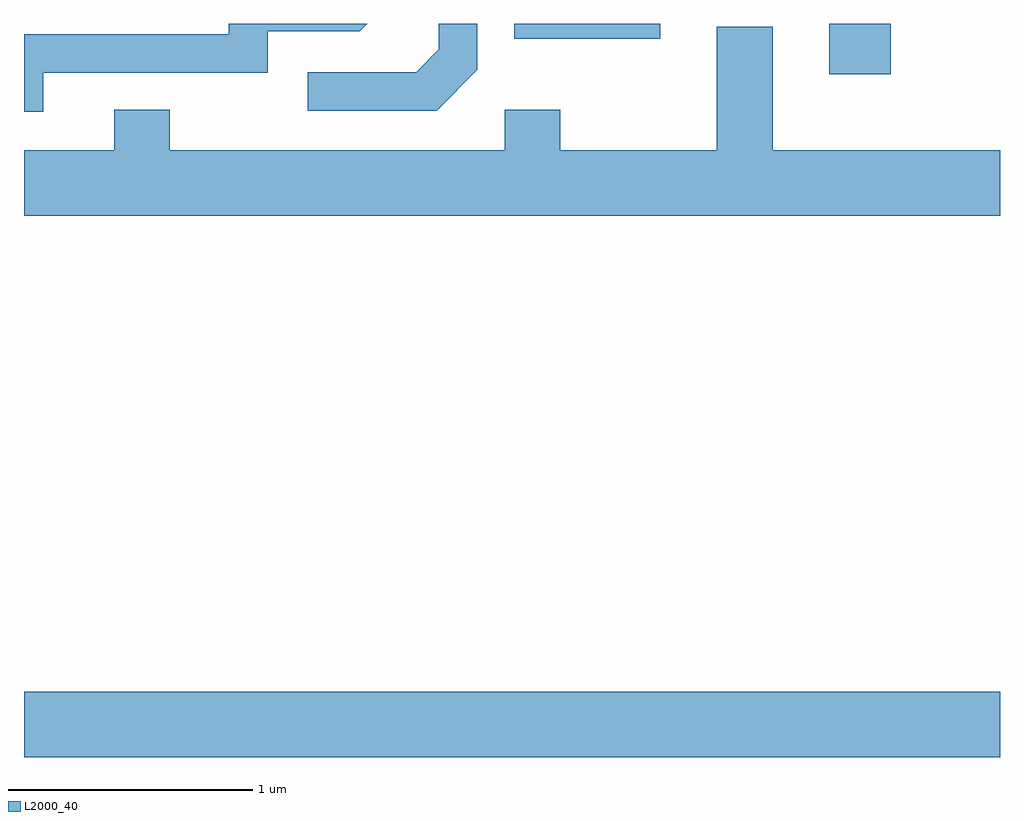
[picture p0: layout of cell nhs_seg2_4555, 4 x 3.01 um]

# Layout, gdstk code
import gdstk
lib = gdstk.Library(unit=1e-6, precision=1e-09)
def R(c, l, rs):  # rectangles x0, y0, x1, y1
    for r in rs: c.add(gdstk.rectangle(r[:2], r[2:], *l))
def P(c, l, *ps):  # polygons
    for p in ps: c.add(gdstk.Polygon(p, *l))
L2000_40 = (2000, 40)

nhs_seg2_4555 = lib.new_cell('nhs_seg2_4555')
R(nhs_seg2_4555, L2000_40, [(319.611,1012.796,323.611,1013.064), (322.911,1015.596,323.164,1015.802), (321.621,1015.741,322.219,1015.802)])
P(nhs_seg2_4555, L2000_40, [(319.689,1015.601),(320.609,1015.601),(320.609,1015.771),(320.987,1015.771),(321.018,1015.802),(320.451,1015.802),(320.451,1015.759),(319.611,1015.759),(319.611,1015.441),(319.689,1015.441)],
  [(321.469,1015.614),(321.469,1015.802),(321.311,1015.802),(321.311,1015.697),(321.219,1015.604),(320.773,1015.604),(320.773,1015.446),(321.302,1015.446)],
  [(323.611,1015.284),(322.679,1015.284),(322.679,1015.789),(322.451,1015.789),(322.451,1015.284),(321.809,1015.284),(321.809,1015.449),(321.581,1015.449),(321.581,1015.284),(320.209,1015.284),(320.209,1015.449),(319.981,1015.449),(319.981,1015.284),(319.611,1015.284),(319.611,1015.016),(323.611,1015.016)])

lib.write_gds('nhs_seg2_4555.gds')
